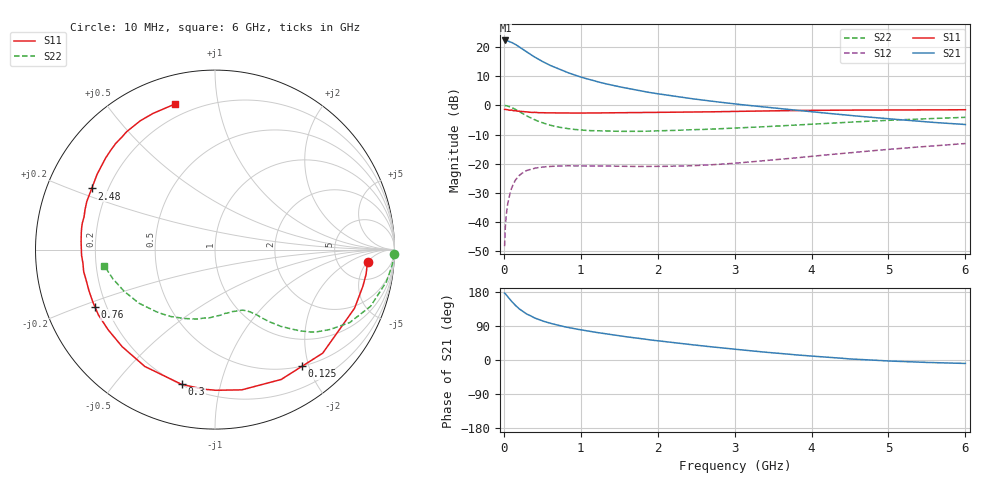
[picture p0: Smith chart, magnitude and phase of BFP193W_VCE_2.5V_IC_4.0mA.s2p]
! Infineon Technologies  Discrete & RF Semiconductors
! BFP193W
! VCE = 2.5 V,  IC =  4.0 mA
! Common Emitter S-Parameters:  Jan 2016
# GHz  S  MA  R  50
!  f  S11  S21  S12  S22
! GHz  MAG  ANG  MAG  ANG  MAG  ANG  MAG  ANG
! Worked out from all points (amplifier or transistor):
!   210 points, 10 MHz to 6 GHz, reference 50 ohm
!   highest |S21| = 22.2 dB at 20 MHz (marker M1)
!   |S21| within 3 dB of that: start of sweep to 245 MHz
!   unconditionally stable (mu >= 1): 1.781 GHz to 4.486 GHz
!   at 185 MHz: K = 0.12, MSG = 22.3 dB, |S12| = -24.5 dB
!   at 1.52 GHz: K = 0.87, MSG = 13.6 dB, |S12| = -20.9 dB
!   at 6 GHz: K = 0.94, MSG = 3.3 dB, |S12| = -13.1 dB
!   S11 on the Smith chart (normalised r, x): 10 MHz: 10, -5; 125 MHz: 0.50, -1.89; 300 MHz: 0.20, -0.76; 760 MHz: 0.16, -0.22; 2.48 GHz: 0.14, +0.23; 6 GHz: 0.14, +0.75
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0.01  0.8525 -4.5  12.82 176.6  0.0039 87.7  0.9977 -1.4
0.02  0.853 -9.2  12.87 174.8  0.0085 84.6  0.9921 -4.4
0.05  0.8434 -22.8  12.68 167.0  0.0204 78.8  0.9718 -10.6
0.085  0.8239 -37.6  12.11 158.7  0.0327 69.4  0.9347 -17.1
0.1  0.8325 -43.9  11.95 155.0  0.0381 67.3  0.9226 -20.0
0.125  0.8109 -53.3  11.44 149.7  0.0452 62.0  0.8859 -24.0
0.15  0.8121 -63.0  11.04 144.0  0.0525 58.1  0.854 -28.4
0.2  0.7956 -79.2  9.977 134.9  0.0631 50.4  0.7815 -34.7
0.26  0.7802 -94.7  8.839 126.3  0.0723 43.1  0.7046 -40.7
0.3  0.7734 -103.9  8.114 121.0  0.0771 39.3  0.6559 -43.7
0.4  0.7595 -121.0  6.705 110.9  0.0842 31.7  0.5648 -49.3
0.5  0.7484 -133.7  5.641 103.1  0.0882 26.9  0.5031 -53.0
0.6  0.7443 -143.2  4.838 96.9  0.0902 23.4  0.4578 -55.8
0.76  0.7411 -154.5  3.948 89.2  0.0919 20.2  0.4134 -59.0
1.02  0.7381 -167.2  2.991 78.9  0.0925 17.3  0.3768 -64.2
1.4  0.7451 179.4  2.221 66.7  0.0914 16.6  0.3614 -72.0
2.02  0.7571 163.3  1.564 50.3  0.0903 21.9  0.3673 -85.7
2.48  0.7669 153.6  1.281 39.6  0.0931 27.7  0.3837 -96.6
3.1  0.7899 141.9  1.024 26.6  0.1048 35.4  0.4135 -111.4
4.1  0.8217 125.5  0.754 8.9  0.1381 41.3  0.4828 -135.8
5.1  0.8335 113.5  0.575 -3.3  0.1809 40.2  0.5629 -157.2
6  0.8413 105.4  0.47 -9.1  0.2223 36.3  0.6237 -171.8
